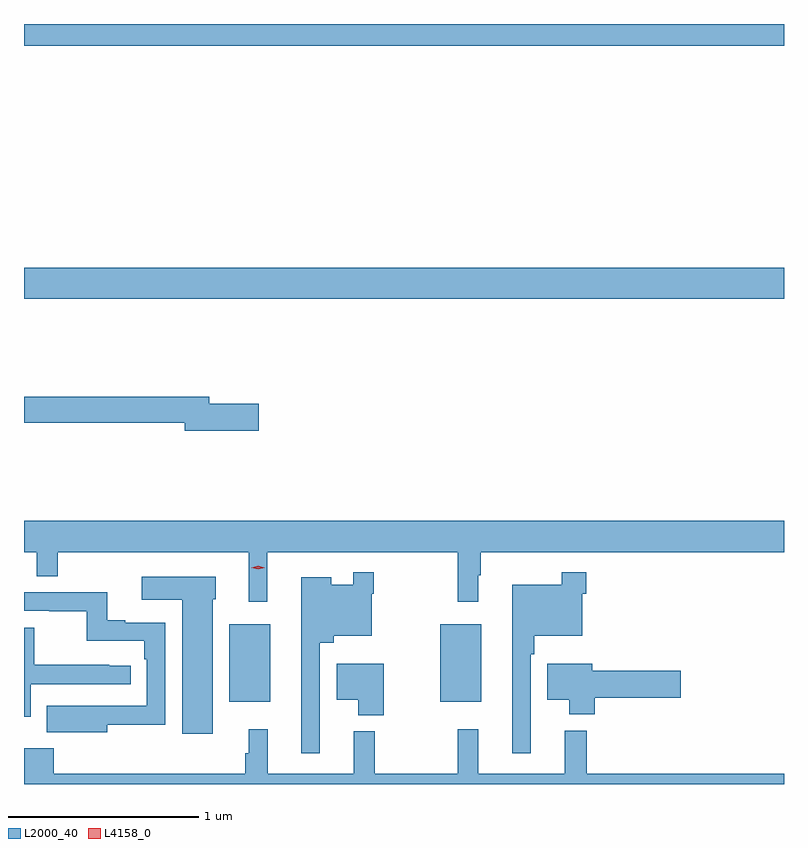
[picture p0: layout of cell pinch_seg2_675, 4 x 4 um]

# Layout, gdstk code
import gdstk
lib = gdstk.Library(unit=1e-6, precision=1e-09)
def R(c, l, rs):  # rectangles x0, y0, x1, y1
    for r in rs: c.add(gdstk.rectangle(r[:2], r[2:], *l))
def P(c, l, *ps):  # polygons
    for p in ps: c.add(gdstk.Polygon(p, *l))
L2000_40 = (2000, 40)
L4158_0 = (4158, 0)

pinch_seg2_675 = lib.new_cell('pinch_seg2_675')
R(pinch_seg2_675, L2000_40, [(1083.548,593.567,1083.763,593.977), (1084.658,593.567,1084.873,593.977), (1082.467,595.688,1086.467,595.852), (1082.467,597.02,1086.467,597.135)])
P(pinch_seg2_675, L2000_40, [(1083.703,595.136),(1083.442,595.136),(1083.442,595.172),(1082.467,595.172),(1082.467,595.036),(1083.314,595.036),(1083.314,594.994),(1083.703,594.994)],
  [(1083.748,594.356),(1084.749,594.356),(1084.749,594.093),(1084.858,594.093),(1084.858,594.233),(1084.87,594.233),(1084.87,594.356),(1086.467,594.356),(1086.467,594.52),(1082.467,594.52),(1082.467,594.356),(1082.535,594.356),(1082.535,594.229),(1082.644,594.229),(1082.644,594.356),(1083.65,594.356),(1083.65,594.093),(1083.748,594.093)],
  [(1084.023,593.879),(1084.097,593.879),(1084.097,593.915),(1084.296,593.915),(1084.296,594.137),(1084.309,594.137),(1084.309,594.25),(1084.2,594.25),(1084.2,594.184),(1084.084,594.184),(1084.084,594.223),(1083.926,594.223),(1083.926,593.298),(1084.023,593.298)],
  [(1085.133,593.819),(1085.153,593.819),(1085.153,593.915),(1085.406,593.915),(1085.406,594.137),(1085.426,594.137),(1085.426,594.25),(1085.298,594.25),(1085.298,594.184),(1085.036,594.184),(1085.036,593.298),(1085.133,593.298)],
  [(1083.46,594.108),(1083.475,594.108),(1083.475,594.226),(1083.087,594.226),(1083.087,594.104),(1083.299,594.104),(1083.299,593.4),(1083.46,593.4)],
  [(1082.905,593.446),(1083.21,593.446),(1083.21,593.985),(1083.001,593.985),(1083.001,593.998),(1082.906,593.998),(1082.906,594.144),(1082.467,594.144),(1082.467,594.048),(1082.599,594.048),(1082.599,594.043),(1082.796,594.043),(1082.796,593.888),(1083.101,593.888),(1083.101,593.792),(1083.114,593.792),(1083.114,593.547),(1082.801,593.547),(1082.801,593.548),(1082.587,593.548),(1082.587,593.408),(1082.905,593.408)],
  [(1082.502,593.661),(1083.028,593.661),(1083.028,593.757),(1082.915,593.757),(1082.915,593.762),(1082.522,593.762),(1082.522,593.958),(1082.467,593.958),(1082.467,593.489),(1082.502,593.489)],
  [(1084.36,593.767),(1084.112,593.767),(1084.112,593.579),(1084.226,593.579),(1084.226,593.498),(1084.36,593.498)],
  [(1085.471,593.59),(1085.923,593.59),(1085.923,593.732),(1085.458,593.732),(1085.458,593.767),(1085.222,593.767),(1085.222,593.579),(1085.336,593.579),(1085.336,593.501),(1085.471,593.501)],
  [(1084.202,593.413),(1084.202,593.188),(1083.749,593.188),(1083.749,593.422),(1083.65,593.422),(1083.65,593.297),(1083.631,593.297),(1083.631,593.188),(1082.624,593.188),(1082.624,593.323),(1082.467,593.323),(1082.467,593.135),(1086.467,593.135),(1086.467,593.188),(1085.429,593.188),(1085.429,593.416),(1085.312,593.416),(1085.312,593.188),(1084.859,593.188),(1084.859,593.422),(1084.749,593.422),(1084.749,593.188),(1084.312,593.188),(1084.312,593.413)])
P(pinch_seg2_675, L4158_0, [(1083.699,594.264),(1083.664,594.274),(1083.664,594.274),(1083.664,594.274),(1083.699,594.284),(1083.734,594.274),(1083.734,594.274),(1083.734,594.274)])

lib.write_gds('pinch_seg2_675.gds')
